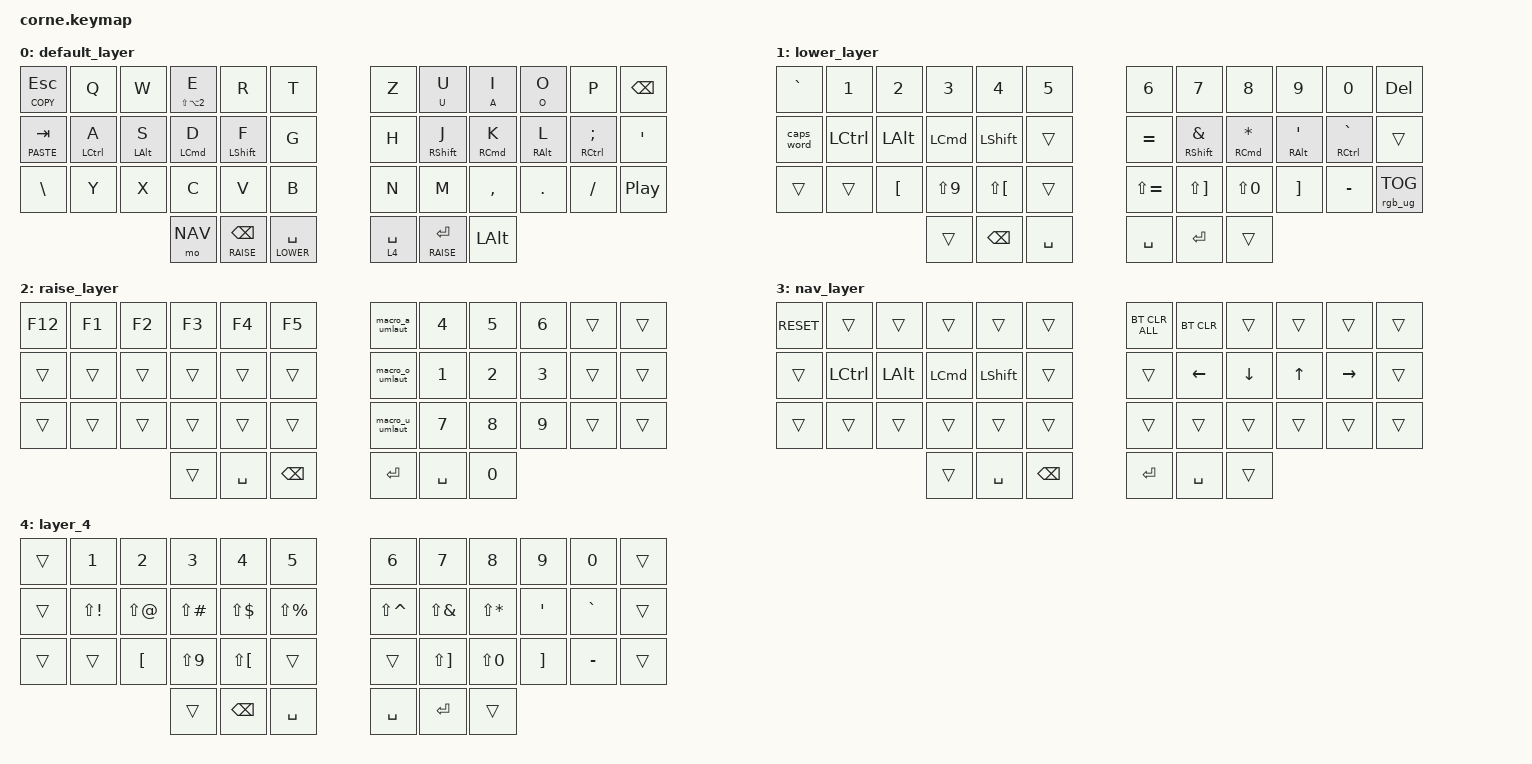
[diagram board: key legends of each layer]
/*
 * Copyright (c) 2020 The ZMK Contributors
 *
 * SPDX-License-Identifier: MIT
 */

#include "keys_de.h"
#include <behaviors.dtsi>
#include <dt-bindings/zmk/bt.h>
#include <dt-bindings/zmk/keys.h>
#include <dt-bindings/zmk/rgb.h>

#define DEFAULT 0
#define LOWER   1
#define RAISE   2
#define NAV     3

// todo: make dongle work.
// https://github.com/zmkfirmware/zmk/tree/main/app/boards/shields/corne
// https://github.com/aroum/zmk-enki42

&lt {
    quick-tap-ms = <200>;
    flavor = "balanced";
};

&led_strip { chain-length = <27>; };

&caps_word { continue-list = <UNDERSCORE MINUS>; };

/ {
    behaviors {
        hm: hold_preferred_homerow_mods {
            compatible = "zmk,behavior-hold-tap";
            #binding-cells = <2>;
            tapping-term-ms = <150>;
            quick-tap-ms = <200>;
            require-prior-idle-ms = <125>;
            flavor = "hold-preferred";
            bindings = <&kp>, <&kp>;
        };

        tm: tap_preferred_homerow_mods {
            compatible = "zmk,behavior-hold-tap";
            #binding-cells = <2>;
            tapping-term-ms = <150>;
            quick-tap-ms = <200>;
            require-prior-idle-ms = <125>;
            flavor = "tap-preferred";
            bindings = <&kp>, <&kp>;
        };

        um: tap_preferred_umlaut_mods {
            compatible = "zmk,behavior-hold-tap";
            #binding-cells = <2>;
            tapping-term-ms = <150>;
            quick-tap-ms = <200>;
            require-prior-idle-ms = <125>;
            flavor = "tap-preferred";

            // long press will forward the key to the umlaut macro

            bindings = <&umlaut>, <&kp>;
        };

        umlaut_unshifted: umlaut_unshifted {
            compatible = "zmk,behavior-mod-morph";
            #binding-cells = <0>;
            bindings = <&kp LA(U)>, <&kp LA(U)>;

            // the mod-morph will prevent the shift modifier from being sent while sending the umlaut shortcut

            mods = <(MOD_LSFT|MOD_RSFT)>;
        };
    };

    macros {
        macro_a_umlaut: macro_a_umlaut {
            compatible = "zmk,behavior-macro";
            #binding-cells = <0>;
            bindings = <&kp LA(U) &kp A>, <&macro_press>;

            label = "MACRO_A_UMLAUT";
        };

        macro_u_umlaut: macro_u_umlaut {
            compatible = "zmk,behavior-macro";
            #binding-cells = <0>;
            bindings = <&kp LA(U) &kp U>, <&macro_press>;

            label = "MACRO_U_UMLAUT";
        };

        macro_o_umlaut: macro_o_umlaut {
            compatible = "zmk,behavior-macro";
            #binding-cells = <0>;
            bindings = <&kp LA(U) &kp O>, <&macro_press>;

            label = "MACRO_O_UMLAUT";
        };

        umlaut: umlaut {
            compatible = "zmk,behavior-macro-one-param";
            #binding-cells = <1>;

            // use the mod-morph behavior to send the umlaut shortcut and then tap the given parameter key

            bindings =
                <&umlaut_unshifted>,
                <&macro_tap>,
                <&macro_param_1to1 &kp MACRO_PLACEHOLDER>;
        };
    };

    keymap {
        compatible = "zmk,keymap";

        default_layer {
            bindings = <
&mt K_COPY ESC   &kp Q        &kp W       &tm LS(LA(N2)) E  &kp R           &kp T              &kp Z        &um U U        &um A I     &um O O     &kp P           &kp BSPC
&mt K_PASTE TAB  &tm LCTRL A  &tm LALT S  &tm LCMD D        &hm LSHFT F     &kp G              &kp H        &hm RSHFT J    &tm RCMD K  &tm RALT L  &tm RCTRL SEMI  &kp SQT
&kp BSLH         &kp Y        &kp X       &kp C             &kp V           &kp B              &kp N        &kp M          &kp COMMA   &kp DOT     &kp FSLH        &kp C_PLAY_PAUSE
                                          &mo NAV           &lt RAISE BSPC  &lt LOWER SPACE    &lt 4 SPACE  &lt RAISE RET  &kp LALT
            >;
        };

        lower_layer {
            bindings = <
&kp GRAVE   &kp N1     &kp N2            &kp N3      &kp N4                &kp N5       &kp N6         &kp N7                 &kp N8         &kp N9                 &kp N0           &kp DELETE
&caps_word  &kp LCTRL  &kp LALT          &kp LCMD    &kp LSHFT             &trans       &kp EQUAL      &hm RSHFT AMPS         &hm RCMD STAR  &hm RALT SINGLE_QUOTE  &hm RCTRL GRAVE  &trans
&trans      &trans     &kp LEFT_BRACKET  &kp LS(N9)  &kp LS(LEFT_BRACKET)  &trans       &kp LS(EQUAL)  &kp LS(RIGHT_BRACKET)  &kp LS(N0)     &kp RIGHT_BRACKET      &kp MINUS        &rgb_ug RGB_TOG
                                         &trans      &kp BSPC              &kp SPACE    &kp SPACE      &kp RET                &trans
            >;
        };

        raise_layer {
            bindings = <
&kp F12  &kp F1  &kp F2  &kp F3  &kp F4     &kp F5      &macro_a_umlaut  &kp N4     &kp N5  &kp N6  &trans  &trans
&trans   &trans  &trans  &trans  &trans     &trans      &macro_o_umlaut  &kp N1     &kp N2  &kp N3  &trans  &trans
&trans   &trans  &trans  &trans  &trans     &trans      &macro_u_umlaut  &kp N7     &kp N8  &kp N9  &trans  &trans
                         &trans  &kp SPACE  &kp BSPC    &kp RET          &kp SPACE  &kp N0
            >;
        };

        nav_layer {
            bindings = <
&kp C_RESET  &trans     &trans    &trans    &trans     &trans      &bt BT_CLR_ALL  &bt BT_CLR  &trans    &trans  &trans     &trans
&trans       &kp LCTRL  &kp LALT  &kp LCMD  &kp LSHFT  &trans      &trans          &kp LEFT    &kp DOWN  &kp UP  &kp RIGHT  &trans
&trans       &trans     &trans    &trans    &trans     &trans      &trans          &trans      &trans    &trans  &trans     &trans
                                  &trans    &kp SPACE  &kp BSPC    &kp RET         &kp SPACE   &trans
            >;
        };

        layer_4 {
            bindings = <
&trans  &kp N1        &kp N2      &kp N3         &kp N4                &kp N5           &kp N6         &kp N7                 &kp N8        &kp N9            &kp N0     &trans
&trans  &kp LS(EXCL)  &kp LS(AT)  &kp LS(POUND)  &kp LS(DLLR)          &kp LS(PRCNT)    &kp LS(CARET)  &kp LS(AMPS)           &kp LS(STAR)  &kp SINGLE_QUOTE  &kp GRAVE  &trans
&trans  &trans        &kp LBKT    &kp LS(N9)     &kp LS(LEFT_BRACKET)  &trans           &trans         &kp LS(RIGHT_BRACKET)  &kp LS(N0)    &kp RBKT          &kp MINUS  &trans
                                  &trans         &kp BSPC              &kp SPACE        &kp SPACE      &kp RET                &trans
            >;
        };
    };
};
